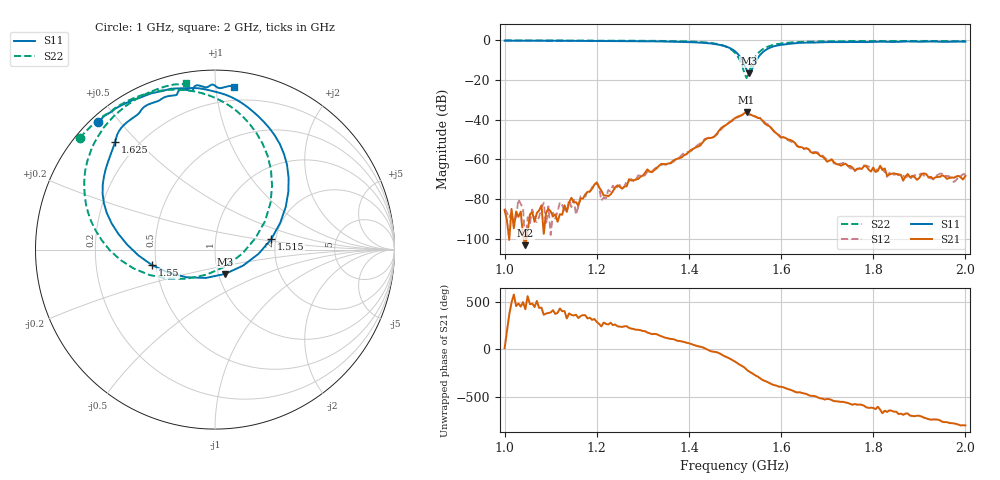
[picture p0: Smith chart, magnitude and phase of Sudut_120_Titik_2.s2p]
# Hz S RI R 50
! CMT, C1220, 16058040, 17.2.0/1
! Date: 14/08/2018 12:46:39
! Data: Format (Calibration Info)
! Freq  S11: Re/Im (F2)  S21: Re/Im (F2)  S12: Re/Im (F2)  S22: Re/Im (F2)
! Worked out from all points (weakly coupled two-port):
!   201 points, 1 GHz to 2 GHz, reference 50 ohm
!   highest |S21| = -36.36 dB at 1.525 GHz (marker M1); lowest = -103.4 dB at 1.045 GHz (marker M2)
!   lowest |S11| = -16.7 dB at 1.53 GHz (marker M3), VSWR 1.34, Z = 53.9 - j14.9 ohm
!   |S11| at or under -10 dB: 1.515 GHz to 1.547 GHz (31.83 MHz wide, 2.08 % of centre)
!   |S22| runs from -19.1 to -0.2 dB; largest |S21 - S12| = 0.00065
!   S11 on the Smith chart (normalised r, x): 1 GHz: 0.02, +0.44; 1.515 GHz: 1.89, +0.24; 1.55 GHz: 0.47, -0.09; 1.625 GHz: 0.12, +0.43; 2 GHz: 0.10, +1.12
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1e9  -0.6504 0.7135  5.2e-05 1.19e-05  -2.1e-05 5.32e-05  -0.7538 0.6214
1.045e9  -0.6162 0.7445  3.45e-06 5.85e-06  -5.19e-06 3.94e-06  -0.7229 0.6548
1.17e9  -0.48 0.8237  0.000102 -3.57e-06  0.000107 -6.11e-05  -0.6184 0.7466
1.2e9  -0.4376 0.8399  7.71e-05 -0.000249  5.45e-05 -0.000251  -0.5852 0.7599
1.21e9  -0.428 0.8429  -8.03e-05 -0.000141  -1.8e-05 -9.05e-05  -0.5807 0.764
1.22e9  -0.4153 0.8473  -8.1e-06 -0.000122  -8.1e-06 -0.000104  -0.5739 0.7739
1.235e9  -0.3883 0.8576  -4.37e-05 -0.000151  -7.07e-05 -0.000205  -0.5574 0.7879
1.255e9  -0.3546 0.8706  -0.000107 -0.000148  -9.3e-05 -0.000149  -0.5322 0.8038
1.335e9  -0.2173 0.8975  -0.000578 0.000369  -0.000498 0.000421  -0.404 0.8616
1.45e9  0.1841 0.7917  0.00324 -0.00128  0.00321 -0.00147  0.0181 0.8369
1.5e9  0.4091 0.3244  -0.00655 -0.00864  -0.0062 -0.00809  0.318 0.3562
1.515e9  0.3133 0.0582  -0.0128 -0.00184  -0.0128 -0.00219  0.2249 0.0631
1.525e9  0.1562 -0.0894  -0.0132 0.00757  -0.0133 0.00752  0.0591 -0.0933
1.53e9  0.0571 -0.1352  -0.00882 0.0101  -0.00895 0.0102  -0.0471 -0.1397
1.55e9  -0.3514 -0.0861  0.00292 0.0106  0.00249 0.0107  -0.4536 -0.1051
1.625e9  -0.5569 0.601  0.00099 -0.00273  0.000965 -0.00254  -0.7034 0.5177
1.67e9  -0.4434 0.7434  -0.000814 -0.00117  -0.000859 -0.00124  -0.6275 0.6683
1.76e9  -0.2635 0.8544  -0.000454 0.000259  -0.000442 0.000243  -0.4862 0.8076
1.815e9  -0.1818 0.8918  -1.62e-05 0.000686  1.37e-05 0.000614  -0.4087 0.8558
1.835e9  -0.135 0.8849  4.75e-05 0.000411  0.000136 0.000439  -0.3817 0.869
1.975e9  0.0672 0.9087  0.000209 -0.000271  0.000151 -0.000221  -0.1874 0.9206
2e9  0.1034 0.905  0.000109 -0.000365  6.89e-05 -0.000422  -0.1597 0.9299
